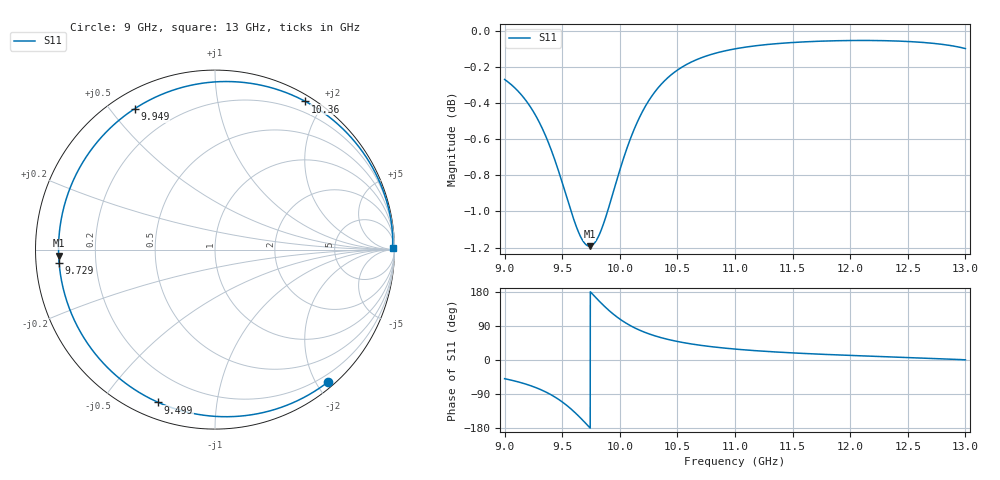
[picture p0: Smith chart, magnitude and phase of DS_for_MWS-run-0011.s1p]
! TOUCHSTONE file generated by CST DESIGN STUDIO
! Date and time: Tue Feb  4 13:34:46 2025
! Project name: C:\Work\MatlabApps\UnitCellOptimizationMatlab\CST\unitcell.cst
! Tree item: Tasks\Sweep1\SPara1\S-Parameters
! Header version: 2024
! Port assignment regex: !\s*Touchstone port\s*([0-9]+)\s*=\s*(CST MWS port|CST DES external port|CST DES block port)\s*(.+)\s* \(\"(.*)\"\)(\s*mode\s*([0-9]+))?.*
! Touchstone port assignment:
! Touchstone port 1 = CST DES external port 1 ("")
# GHz S MA R 50
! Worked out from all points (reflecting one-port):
!   4001 points, 9 GHz to 13 GHz, reference 50 ohm
!   lowest |S11| = -1.2 dB at 9.737 GHz (marker M1), VSWR 14.59, Z = 3.43 - j0.981 ohm
!   phase of S11 starts at -49 deg and turns -310 deg over the sweep
!   S11 on the Smith chart (normalised r, x): 9 GHz: 0.09, -2.17; 9.499 GHz: 0.07, -0.69; 9.729 GHz: 0.07, -0.04; 9.949 GHz: 0.07, +0.58; 10.36 GHz: 0.07, +1.78; 13 GHz: open
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9  0.9697 -49.3
9.139  0.9607 -59.5
9.267  0.9479 -72.4
9.399  0.928 -91.0
9.451  0.9181 -100.4
9.499  0.9081 -110.4
9.5  0.9079 -110.6
9.555  0.896 -123.6
9.609  0.8851 -138.1
9.673  0.8754 -157.3
9.729  0.8718 -175.1
9.737  0.8717 -177.7
9.782  0.8736 167.7
9.829  0.8792 152.9
9.89  0.8905 135.1
9.949  0.9036 119.7
10  0.9151 108.1
10.079  0.9312 92.9
10.176  0.9472 78.2
10.265  0.9581 67.7
10.363  0.967 58.6
10.5  0.9755 48.9
10.718  0.9835 38.1
11  0.9888 28.8
11.5  0.9928 18.7
12  0.9941 12.1
12.5  0.9935 6.7
13  0.989 0.5
